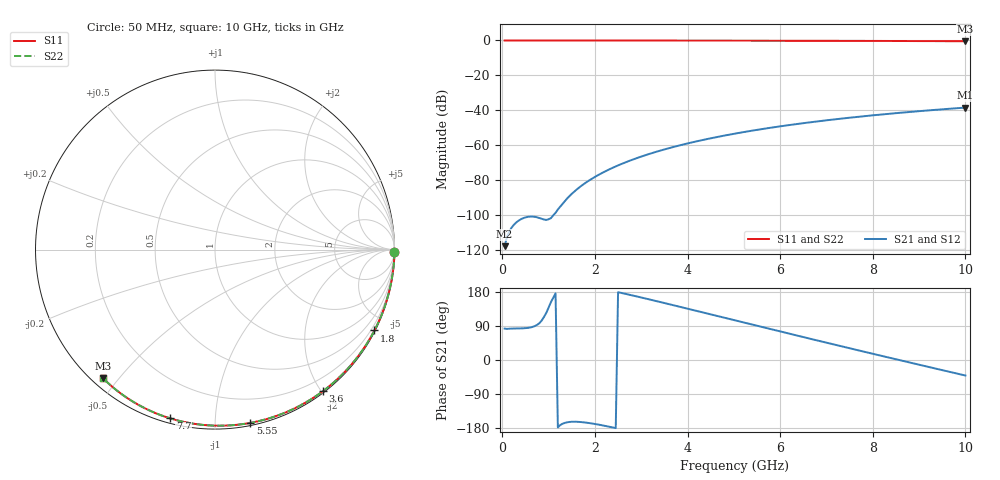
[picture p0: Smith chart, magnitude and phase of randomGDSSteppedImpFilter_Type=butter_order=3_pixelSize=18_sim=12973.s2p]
! freq	dB(S11)	phase(S11)	dB(S12)	phase(S12)
!  dB(S21)	phase(S21)	dB(S22)	phase(S22)
!S-par simulation data
#  GHz  S  DB  R 50
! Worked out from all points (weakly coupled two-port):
!   200 points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, 50 MHz to 10 GHz, reference 50 ohm
!   highest |S21| = -38.40 dB at 10 GHz (marker M1); lowest = -117.7 dB at 50 MHz (marker M2)
!   lowest |S11| = -0.4 dB at 10 GHz (marker M3), VSWR 39.11, Z = 1.54 - j22.7 ohm
!   |S11| at or under -10 dB: nowhere
!   |S22| runs from -0.4 to 0.0 dB; largest |S21 - S12| = 0
!   S11 on the Smith chart (normalised r, x): 50 MHz: open; 1.8 GHz: 0.04, -4.18; 3.6 GHz: 0.02, -2.02; 5.55 GHz: 0.02, -1.22; 7.7 GHz: 0.02, -0.77; 10 GHz: 0.03, -0.45
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0.05  -0.00 -0.8  -117.67 82.9  -117.67 82.9  -0.00 -0.8
0.9  -0.02 -13.6  -102.43 113.5  -102.43 113.5  -0.02 -13.6
1.75  -0.03 -26.2  -82.33 -164.4  -82.33 -164.4  -0.03 -26.1
1.8  -0.03 -26.9  -81.40 -165.1  -81.40 -165.1  -0.03 -26.9
1.85  -0.04 -27.6  -80.51 -165.9  -80.51 -165.9  -0.04 -27.6
1.9  -0.04 -28.3  -79.66 -166.8  -79.66 -166.8  -0.04 -28.3
2.05  -0.04 -30.5  -77.30 -169.9  -77.30 -169.9  -0.04 -30.5
2.25  -0.04 -33.4  -74.51 -174.6  -74.51 -174.6  -0.04 -33.4
2.45  -0.05 -36.3  -72.04 -179.7  -72.04 -179.7  -0.05 -36.3
2.65  -0.05 -39.2  -69.83 174.9  -69.83 174.9  -0.05 -39.2
3  -0.06 -44.2  -66.42 165.0  -66.42 165.0  -0.06 -44.2
3.4  -0.07 -49.8  -63.09 153.3  -63.09 153.3  -0.07 -49.8
3.6  -0.07 -52.6  -61.60 147.4  -61.60 147.4  -0.07 -52.6
4.3  -0.09 -62.1  -57.09 126.5  -57.09 126.5  -0.09 -62.1
5.05  -0.11 -72.1  -53.16 103.9  -53.16 103.9  -0.11 -72.1
5.55  -0.13 -78.5  -50.93 88.8  -50.93 88.8  -0.13 -78.5
6.1  -0.15 -85.5  -48.75 72.4  -48.75 72.4  -0.15 -85.5
6.7  -0.18 -92.9  -46.64 54.5  -46.64 54.5  -0.18 -92.9
7.7  -0.24 -104.9  -43.63 25.1  -43.63 25.1  -0.24 -104.9
8.35  -0.29 -112.5  -41.95 6.3  -41.95 6.3  -0.29 -112.4
9.15  -0.36 -121.6  -40.11 -16.7  -40.11 -16.7  -0.36 -121.6
10  -0.44 -131.2  -38.40 -41.0  -38.40 -41.0  -0.44 -131.2
